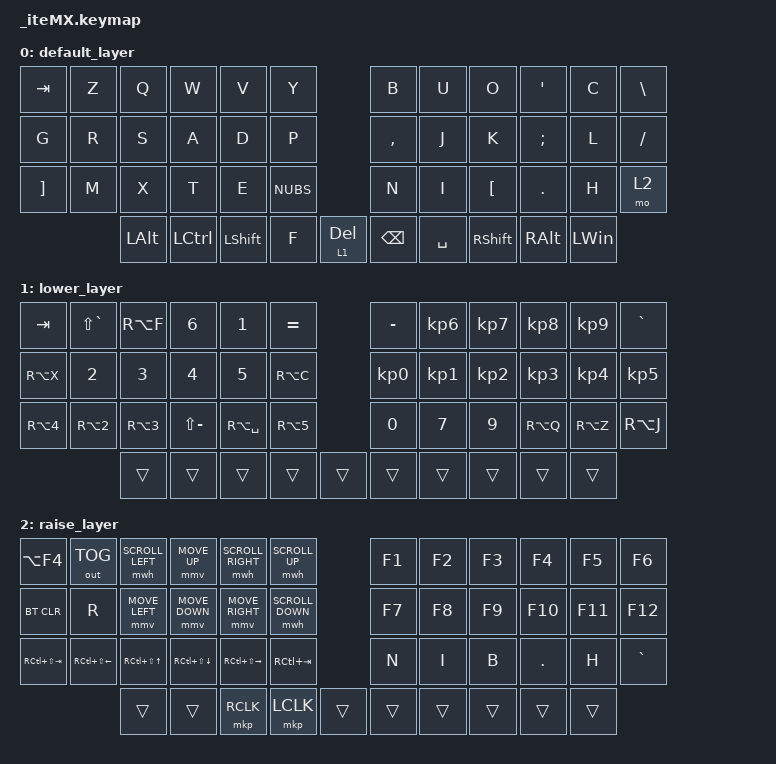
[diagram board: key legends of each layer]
#include <behaviors.dtsi>
#include <dt-bindings/zmk/keys.h>
#include <dt-bindings/zmk/bt.h>
#include "mouse.dtsi"
#include <dt-bindings/zmk/outputs.h>




#define default 0
#define lower   1
#define raise   2

#define COMBO(NAME, TIME, BINDINGS, KEYPOS) \
  combo_##NAME { \
    timeout-ms = <TIME>; \
    bindings = <BINDINGS>; \
    key-positions = <KEYPOS>; \
  };
//         ______________________                   ________________________
//        |0  |1  |2  |3  |4  |5  |                |6  |7  |8  |9  |10 |11 |
//        |12 |13 |14 |15 |16 |17 |                |18 |19 |20 |21 |22 |23 |
//        |24 |25 |26 |27 |28 |29 |___          ___|30 |31 |32 |33 |34 |35 |  
//             ‾‾‾|36 |37 |38 |39 |40 |        |41 |42 |43 |44 |45 |‾‾‾               
//                 ‾‾‾‾‾‾‾‾‾‾‾‾‾‾‾‾‾‾‾          ‾‾‾‾‾‾‾‾‾‾‾‾‾‾‾‾‾‾‾
/ {
        combos {
                compatible = "zmk,combos";

                COMBO(circonflexe, 70, &kp Y, 32 33)
                COMBO(tiret, 70, &kp N8, 31 32)
                COMBO(w, 70, &kp RBKT, 7 8)                

                COMBO(fleche_haut, 50, &kp UP, 3 15)
                COMBO(fleche_bas, 50, &kp DOWN, 15 27)
                COMBO(fleche_gauche, 70, &kp LEFT, 12 13)              
                COMBO(fleche_droite, 50, &kp RIGHT, 16 17)

                COMBO(retour, 50, &kp BSPC, 4 16)
                COMBO(supr, 50, &kp DEL, 7 19)
                COMBO(enter_un, 80, &kp ENTER, 13 14 15 16)
                COMBO(enter_two, 80, &kp ENTER, 14 15 16)
                COMBO(esc, 50, &kp ESC, 0 1)
                COMBO(caps_lock, 50, &kp CAPS, 38 43)

                COMBO(ctrl_z, 50, &kp LC(LBKT), 25 26)
                COMBO(ctrl_c, 50, &kp LC(H), 26 27)
                COMBO(ctrl_v, 50, &kp LC(U), 27 28)
                COMBO(ctrl_s, 70, &kp LC(K), 4 5) 

//                COMBO(lower, 100, &mo 1, 40 42)

        };

    keymap {
        compatible = "zmk,keymap";

        default_layer {

            bindings = <
&kp TAB	  &kp Z	     &kp Q	   &kp W	     &kp V     &kp Y                  &kp B	      &kp U	     &kp O	   &kp APOS	 &kp C	&kp BSLH
&kp G	    &kp R	     &kp S	   &kp A	     &kp D	   &kp P              &kp COMMA   &kp J	     &kp K	   &kp SEMI	 &kp L	&kp SLASH
&kp RBKT  &kp M	     &kp X	   &kp T	     &kp E	   &kp NUBS               &kp N	      &kp I	     &kp LBKT  &kp DOT   &kp H	&mo 2
                     &kp LALT  &kp LCTRL   &kp LSHFT &kp F	 &lt 1 DEL   &kp BSPC  &kp SPACE   &kp RSHFT  &kp RALT	 &kp LWIN
                     
            >;      
        };
//                      &kp LCTRL  &kp LCMD   &kp LSHFT &kp F	 &lt 1 DEL   &kp BSPC  &kp SPACE   &kp RSHFT  &kp RALT	 &kp RCMD
//                      &kp LALT  &kp LCTRL   &kp LSHFT &kp F	 &lt 1 DEL   &kp BSPC  &kp SPACE   &kp RSHFT  &kp RALT	 &kp LWIN

		lower_layer {
		
			bindings = <
&kp TAB	    &kp LS(GRAVE) &kp RA(F)	  &kp N6	    &kp N1 	   &kp EQUAL	            &kp MINUS  &kp KP_N6  &kp KP_N7   &kp KP_N8  &kp KP_N9	 &kp GRAVE
&kp RA(X)   &kp N2	      &kp N3	  &kp N4	    &kp N5     &kp RA(C)                &kp KP_N0  &kp KP_N1  &kp KP_N2   &kp KP_N3  &kp KP_N4	 &kp KP_N5
&kp RA(N4)  &kp RA(N2)    &kp RA(N3)  &kp LS(MINUS)   &kp RA(SPACE) &kp RA(N5)      &kp N0	   &kp N7     &kp N9	  &kp RA(Q)	 &kp RA(Z)   &kp RA(J)
                          &trans      &trans        &trans     &trans  &trans       &trans  &trans     &trans     &trans      &trans
        			>;
	    	};

        raise_layer {

            bindings = <
&kp LA(F4)	  &out OUT_TOG          &mwh SCROLL_LEFT	         &mmv MOVE_UP	     &mwh SCROLL_RIGHT          &mwh SCROLL_UP              &kp F1	     &kp F2	    &kp F3   &kp F4	 &kp F5	 &kp F6
&bt BT_CLR	&kp R	          &mmv MOVE_LEFT &mmv MOVE_DOWN    &mmv MOVE_RIGHT  &mwh SCROLL_DOWN                                &kp F7    &kp F8      &kp F9	&kp F10	 &kp F11	&kp F12
&kp RC(LS(TAB))  &kp RC(LS(LEFT))	&kp RC(LS(UP))    &kp RC(LS(DOWN))   &kp RC(LS(RIGHT))	      &kp RC(TAB)                   &kp N	     &kp I	    &kp B   &kp DOT  &kp H	&kp GRAVE
                          &trans       &trans         &mkp RCLK          &mkp LCLK	  &trans   &trans  &trans   &trans      &trans	           &trans
            >;      
        };

    };
};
